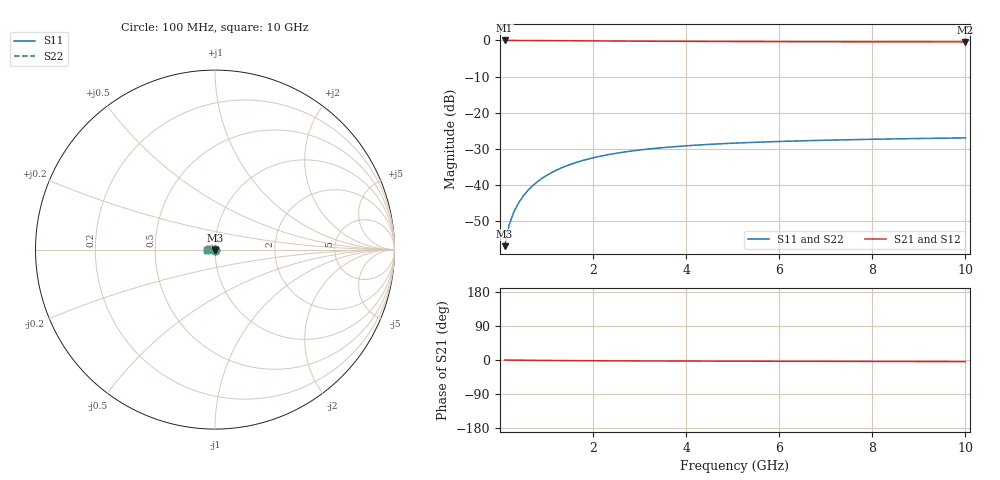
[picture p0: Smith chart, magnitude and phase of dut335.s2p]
! Touchstone file exported from HFSS 2024.1.0
!  File:  C:/UserFiles/LocalFiles/RDL_TSV_Batchsim/temp_TSV1_335_1779618363.aedt
!  Generated:  06:31:46 PM May 24, 2026
!  Design:  TSV1
!  Project:  temp_TSV1_335_1779618363
!  Setup:  Setup1
!  Solution:  Sweep
! Variables:
!  dtsv = 14.42um
!  hbump = 3um
!  htsv = 64.08um
!  lrdl = 252.1521522um
!  p = 40
!  p1 = 58.78um
!  t = 500um
!  trdl = 3um
!  wrdl = 24.89489489um
# GHz S MA R 50.000000
! Terminal data exported
! Port[1] = TSV22_T1
! Port[2] = TSV22_T2
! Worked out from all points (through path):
!   100 points, 100 MHz to 10 GHz, reference 50 ohm
!   highest |S21| = 0.00 dB at 100 MHz (marker M1); lowest = -0.4 dB at 10 GHz (marker M2)
!   lowest |S11| = -57.1 dB at 100 MHz (marker M3), VSWR 1.00, Z = 50 - j0.14 ohm
!   |S11| at or under -10 dB: start of sweep to end of sweep
!   |S22| runs from -57.1 to -27.0 dB; largest |S21 - S12| = 1.1e-14
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0.1  0.001403 -89.1  0.9999 -0.1  0.9999 -0.1  0.001403 -89.1
! Gamma 0 0 0 0
! Port Impedance 50 0 50 0
0.2  0.002804 -92.4  0.9997 -0.2  0.9997 -0.2  0.002804 -92.4
0.3  0.004201 -94.8  0.9994 -0.4  0.9994 -0.4  0.004201 -94.8
0.4  0.005589 -97.1  0.9991 -0.5  0.9991 -0.5  0.005589 -97.1
0.5  0.006959 -99.2  0.9986 -0.6  0.9986 -0.6  0.006959 -99.2
0.6  0.008308 -101.3  0.9981 -0.7  0.9981 -0.7  0.008308 -101.3
0.7  0.009631 -103.3  0.9975 -0.8  0.9975 -0.8  0.009631 -103.3
0.8  0.01092 -105.3  0.9969 -0.9  0.9969 -0.9  0.01092 -105.3
0.9  0.01218 -107.2  0.9961 -1.0  0.9961 -1.0  0.01218 -107.2
1.1  0.0146 -111.0  0.9945 -1.2  0.9945 -1.2  0.0146 -111.0
1.4  0.01794 -116.2  0.9919 -1.5  0.9919 -1.5  0.01794 -116.2
1.6  0.01996 -119.5  0.99 -1.7  0.99 -1.7  0.01996 -119.5
1.8  0.02184 -122.6  0.9881 -1.8  0.9881 -1.8  0.02184 -122.6
2.1  0.02436 -127.0  0.9852 -2.0  0.9852 -2.0  0.02436 -127.0
2.5  0.02726 -132.1  0.9816 -2.2  0.9816 -2.2  0.02726 -132.1
2.9  0.02968 -136.8  0.9783 -2.4  0.9783 -2.4  0.02968 -136.8
3.4  0.03218 -141.8  0.9746 -2.6  0.9746 -2.6  0.03218 -141.8
4.2  0.03526 -148.6  0.9698 -2.8  0.9698 -2.8  0.03526 -148.6
5.1  0.0378 -154.9  0.9656 -3.1  0.9656 -3.1  0.0378 -154.9
6.7  0.04088 -163.6  0.9603 -3.5  0.9603 -3.5  0.04088 -163.6
8.4  0.04304 -170.9  0.9568 -3.9  0.9568 -3.9  0.04304 -170.9
10  0.04453 -176.6  0.9545 -4.4  0.9545 -4.4  0.04454 -176.6
